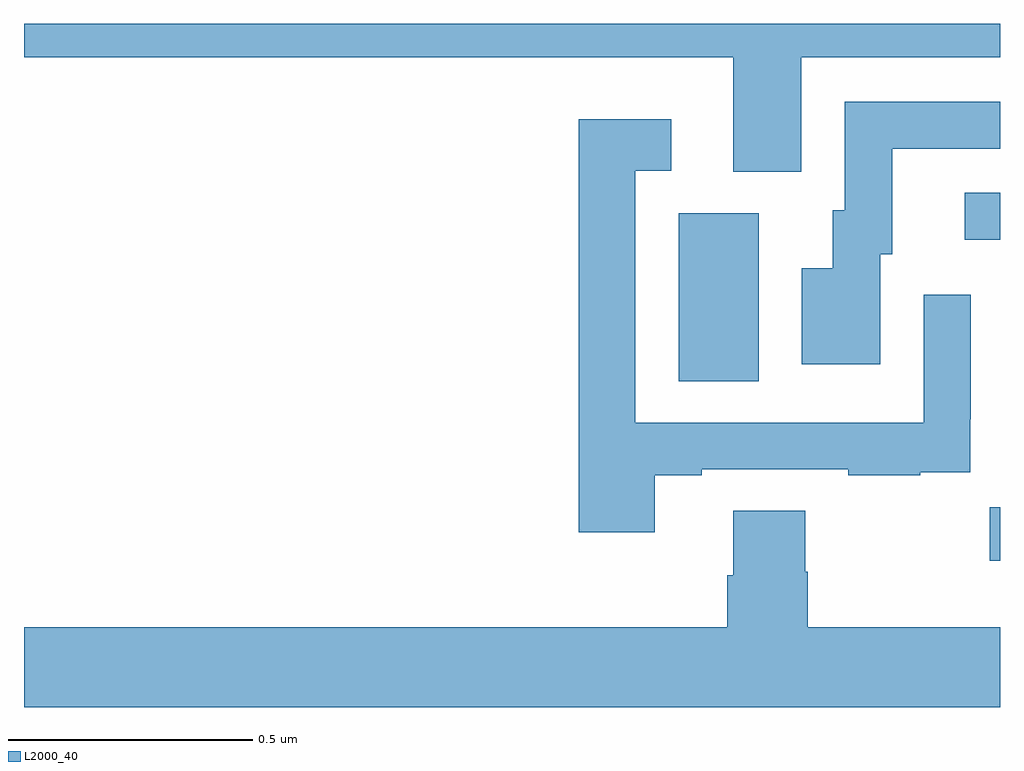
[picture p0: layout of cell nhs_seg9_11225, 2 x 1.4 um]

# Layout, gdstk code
import gdstk
lib = gdstk.Library(unit=1e-6, precision=1e-09)
def R(c, l, rs):  # rectangles x0, y0, x1, y1
    for r in rs: c.add(gdstk.rectangle(r[:2], r[2:], *l))
def P(c, l, *ps):  # polygons
    for p in ps: c.add(gdstk.Polygon(p, *l))
L2000_40 = (2000, 40)

nhs_seg9_11225 = lib.new_cell('nhs_seg9_11225')
R(nhs_seg9_11225, L2000_40, [(254.979,1183.4,255,1183.51), (254.342,1183.768,254.506,1184.112), (254.928,1184.058,255,1184.154)])
P(nhs_seg9_11225, L2000_40, [(254.593,1184.432),(255,1184.432),(255,1184.5),(253,1184.5),(253,1184.432),(254.453,1184.432),(254.453,1184.197),(254.593,1184.197)],
  [(254.755,1184.028),(254.779,1184.028),(254.779,1184.244),(255,1184.244),(255,1184.34),(254.682,1184.34),(254.682,1184.118),(254.657,1184.118),(254.657,1183.999),(254.594,1183.999),(254.594,1183.803),(254.755,1183.803)],
  [(254.293,1183.575),(254.389,1183.575),(254.389,1183.587),(254.689,1183.587),(254.689,1183.575),(254.837,1183.575),(254.837,1183.581),(254.939,1183.581),(254.939,1183.69),(254.94,1183.69),(254.94,1183.945),(254.844,1183.945),(254.844,1183.683),(254.253,1183.683),(254.253,1184.199),(254.326,1184.199),(254.326,1184.305),(254.137,1184.305),(254.137,1183.458),(254.293,1183.458)],
  [(255,1183.264),(254.606,1183.264),(254.606,1183.377),(254.601,1183.377),(254.601,1183.502),(254.453,1183.502),(254.453,1183.37),(254.441,1183.37),(254.441,1183.264),(253,1183.264),(253,1183.1),(255,1183.1)])

lib.write_gds('nhs_seg9_11225.gds')
